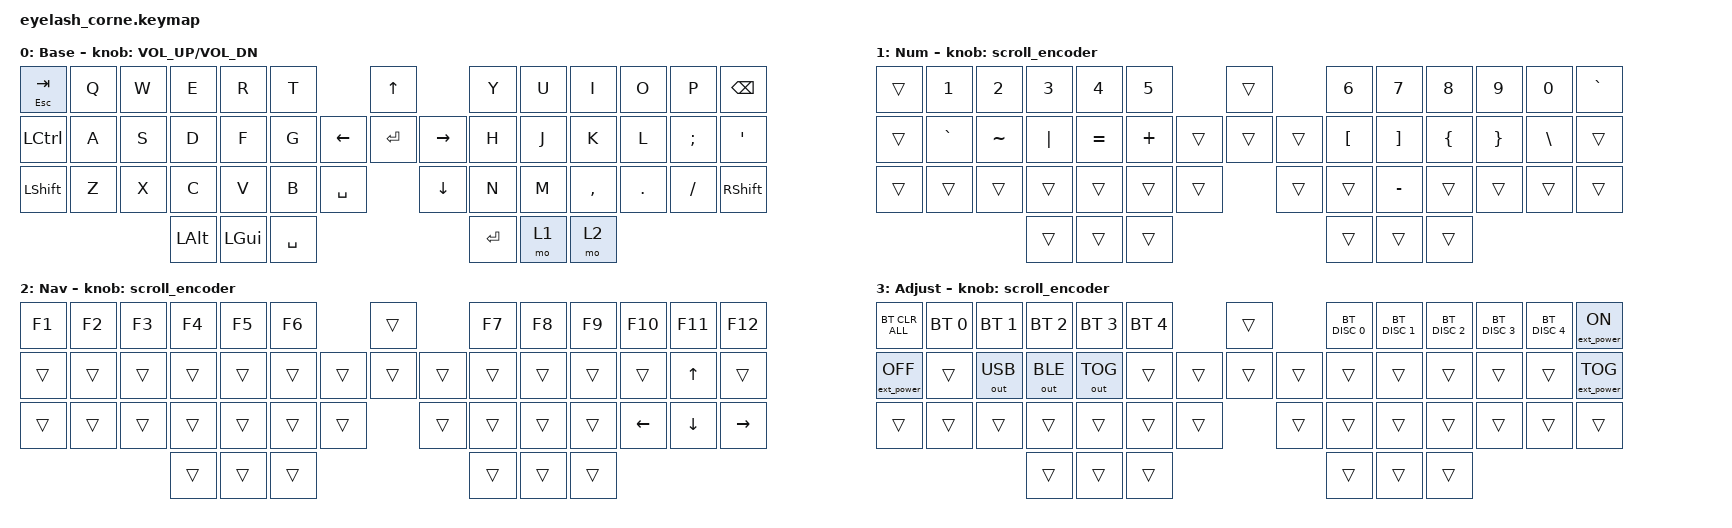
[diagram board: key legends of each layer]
#define ZMK_POINTING_DEFAULT_MOVE_VAL 1200  // 600
#define ZMK_POINTING_DEFAULT_SCRL_VAL 25   // 10

#include <input/processors.dtsi>
#include <zephyr/dt-bindings/input/input-event-codes.h>
#include <behaviors.dtsi>
#include <dt-bindings/zmk/bt.h>
#include <dt-bindings/zmk/ext_power.h>
#include <dt-bindings/zmk/keys.h>
#include <dt-bindings/zmk/outputs.h>
#include <dt-bindings/zmk/pointing.h>
#include <dt-bindings/zmk/rgb.h>

&mmv_input_listener { input-processors = <&zip_xy_scaler 2 1>; };

&msc_input_listener { input-processors = <&zip_scroll_scaler 2 1>; };

&msc {
    acceleration-exponent = <1>;      // 0
    time-to-max-speed-ms = <100>;       // 300
    delay-ms = <0>;                   // 0
};

&mmv {
    time-to-max-speed-ms = <500>;
    acceleration-exponent = <1>;
    trigger-period-ms = <16>;
};

&soft_off { hold-time-ms = <2000>; };

&mt {
    tapping-term-ms = <200>;
    flavor = "tap-preferred";
    require-prior-idle-ms = <125>;
};

/ {
    behaviors {
        esc_tab: esc_tab {
            compatible = "zmk,behavior-hold-tap";
            display-name = "Esc/Tab";
            #binding-cells = <2>;
            flavor = "tap-preferred";
            tapping-term-ms = <200>;
            bindings = <&kp>, <&kp>;
        };

        td0: td0 {
            compatible = "zmk,behavior-tap-dance";
            display-name = "Shift/Caps Lock Tap Dance";
            #binding-cells = <0>;
            bindings = <&kp LEFT_SHIFT>, <&kp CAPS>;
        };
    };

    rgb_encoder: rgb_encoder {
        compatible = "zmk,behavior-sensor-rotate";
        #sensor-binding-cells = <0>;
        bindings = <&rgb_ug RGB_BRI>, <&rgb_ug RGB_BRD>;
    };

    scroll_encoder: scroll_encoder {
        compatible = "zmk,behavior-sensor-rotate";
        #sensor-binding-cells = <0>;
        bindings = <&msc SCRL_DOWN>, <&msc SCRL_UP>;

        tap-ms = <100>;
    };

    combos {
        compatible = "zmk,combos";

        softoff {
            bindings = <&soft_off>;
            key-positions = <1 15 29>;
        };
    };

    keymap {
        compatible = "zmk,keymap";

        default_layer {
            display-name = "Base";
            bindings = <
&esc_tab ESC TAB  &kp Q  &kp W  &kp E     &kp R     &kp T                               &kp UP                &kp Y        &kp U  &kp I      &kp O    &kp P     &kp BSPC
&kp LCTRL   &kp A  &kp S  &kp D     &kp F     &kp G                     &kp LEFT  &kp ENTER  &kp RIGHT  &kp H        &kp J  &kp K      &kp L    &kp SEMI  &kp SQT
&kp LSHFT      &kp Z  &kp X  &kp C     &kp V     &kp B        &kp SPACE              &kp DOWN              &kp N        &kp M  &kp COMMA  &kp DOT  &kp FSLH  &kp RSHFT
                             &kp LALT  &kp LGUI  &kp SPACE                                               &kp RET       &mo 1  &mo 2
            >;

            sensor-bindings = <&inc_dec_kp C_VOLUME_UP C_VOL_DN>;
        };

        lower_layer {
            display-name = "Num";
            bindings = <
&trans  &kp N1     &kp N2     &kp N3    &kp N4     &kp N5                                         &trans                       &kp N6     &kp N7    &kp N8     &kp N9    &kp N0    &kp GRAVE
&trans  &kp GRAVE  &kp TILDE  &kp PIPE   &kp EQUAL  &kp PLUS                        &trans        &trans       &trans        &kp LBKT   &kp RBKT  &kp LBRC   &kp RBRC  &kp BSLH   &trans
&trans  &trans     &trans     &trans     &trans     &trans      &trans                    &trans                       &trans     &kp MINUS &trans     &trans    &trans    &trans
                                      &trans    &trans     &trans                                                                   &trans     &trans    &trans
            >;

            sensor-bindings = <&scroll_encoder>;
        };

        raise_layer {
            display-name = "Nav";
            bindings = <
&kp F1  &kp F2  &kp F3  &kp F4  &kp F5  &kp F6                                &trans                       &kp F7  &kp F8  &kp F9  &kp F10   &kp F11       &kp F12
&trans  &trans  &trans  &trans  &trans  &trans                      &trans     &trans       &trans        &trans  &trans  &trans  &trans    &kp UP_ARROW  &trans
&trans  &trans  &trans  &trans  &trans  &trans   &trans                    &trans                       &trans  &trans  &trans  &kp LEFT  &kp DOWN      &kp RIGHT
                        &trans  &trans  &trans                                                               &trans  &trans  &trans
            >;

            sensor-bindings = <&scroll_encoder>;
        };

        adjust_layer {
            display-name = "Adjust";
            bindings = <
&bt BT_CLR_ALL     &bt BT_SEL 0  &bt BT_SEL 1  &bt BT_SEL 2  &bt BT_SEL 3  &bt BT_SEL 4                          &trans                     &bt BT_DISC 0  &bt BT_DISC 1  &bt BT_DISC 2  &bt BT_DISC 3  &bt BT_DISC 4  &ext_power EP_ON
&ext_power EP_OFF  &trans        &out OUT_USB  &out OUT_BLE  &out OUT_TOG  &trans                   &trans      &trans       &trans        &trans         &trans         &trans         &trans         &trans         &ext_power EP_TOG
&trans             &trans        &trans        &trans        &trans        &trans   &trans                    &trans                     &trans         &trans         &trans         &trans         &trans         &trans
                                             &trans        &trans        &trans                                                               &trans         &trans         &trans
            >;

            sensor-bindings = <&scroll_encoder>;
        };
    };

    conditional_layers {
        compatible = "zmk,conditional-layers";

        adjust {
            if-layers = <1 2>;
            then-layer = <3>;
        };
    };
};
